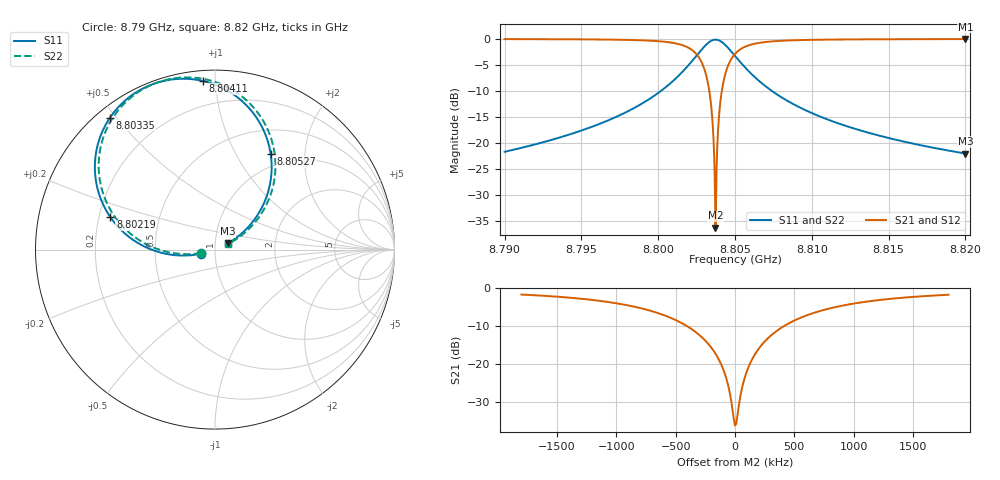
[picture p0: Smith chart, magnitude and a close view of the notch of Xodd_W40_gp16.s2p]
! Sonnet Data File
! From: emgraph Version : 16.52
! From Project: Qubit_Xmon2
! Data is De-embedded
! Data File Written: 10/18/2017 14:46:52
!< HDATE 10/18/2017 13:36:36
!< MDATE 10/18/2017 13:36:36
!< PARAMS
!< Lj = 11.0
!< Gap = 16.0
!< Pwid = 2000.0
!< Airgap = 24.0
!< Width = 40.0
!< END PARAMS
# GHZ S MA R 43.40000
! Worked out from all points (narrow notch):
!   3001 points, 8.79 GHz to 8.82 GHz, reference 43.4 ohm
!   highest |S21| = -0.03 dB at 8.82 GHz (marker M1); lowest = -36.3 dB at 8.80373 GHz (marker M2)
!   notch at M2: 36.2 dB deep, 301 kHz wide at half that depth
!   lowest |S11| = -22.0 dB at 8.82 GHz (marker M3), VSWR 1.17, Z = 49.9 + j3.43 ohm
!   |S11| at or under -10 dB: start of sweep to 8.800179 GHz; 8.807402 GHz to end of sweep
!   |S22| runs from -22.0 to -0.1 dB; largest |S21 - S12| = 0
!   S11 on the Smith chart (normalised r, x): 8.79 GHz: 0.85, -0.04; 8.80219 GHz: 0.25, +0.14; 8.80335 GHz: 0.04, +0.48; 8.80411 GHz: 0.06, +0.93; 8.80527 GHz: 0.82, +1.40; 8.82 GHz: 1.15, +0.08
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8.79  0.08219 -163.6  0.9965 -74.8  0.9965 -74.8  0.08219 -166.2
!< P1 F=8.79 Eeff=(4.81771806 -6.2668e-5) Z0=(43.3161425 -1.8142e-4) R=0.0 C=0.0
!< P2 F=8.79 Eeff=(4.81771806 -6.2668e-5) Z0=(43.3161425 -1.8142e-4) R=0.0 C=0.0
8.795  0.1316 -166.6  0.991 -77.7  0.991 -77.7  0.1316 -169.2
8.8  0.3023 -176.8  0.9517 -87.8  0.9517 -87.8  0.3023 -179.4
8.80133  0.4432 174.3  0.893 -96.5  0.893 -96.5  0.4432 171.7
8.80219  0.6094 162.8  0.7855 -107.8  0.7855 -107.8  0.6094 160.2
8.80291  0.8163 145.1  0.5596 -124.9  0.5596 -124.9  0.8163 142.5
8.80316  0.8915 136.2  0.4252 -133.2  0.4252 -133.2  0.8915 133.6
8.80335  0.9397 128.5  0.2996 -140.1  0.2996 -140.1  0.9397 125.9
8.8035  0.9674 121.9  0.188 -144.9  0.188 -144.9  0.9674 119.2
8.80364  0.982 115.4  0.07755 -144.7  0.07755 -144.7  0.982 112.8
8.80373  0.9849 111.2  0.01533 -80.4  0.01533 -80.4  0.9849 108.6
8.80383  0.9819 106.5  0.08009 4.4  0.08009 4.4  0.9819 103.9
8.80396  0.9685 100.6  0.1825 4.6  0.1825 4.6  0.9685 98.0
8.80411  0.9415 94.0  0.294 -0.1  0.294 -0.1  0.9415 91.4
8.80446  0.8477 80.4  0.5094 -12.3  0.5094 -12.3  0.8477 77.8
8.805  0.6865 65.2  0.7173 -26.9  0.7173 -26.9  0.6865 62.6
8.80527  0.6162 59.8  0.7802 -32.2  0.7802 -32.2  0.6162 57.2
8.80601  0.4701 49.5  0.8789 -42.2  0.8789 -42.2  0.4701 46.9
8.80694  0.3556 42.2  0.9326 -49.5  0.9326 -49.5  0.3556 39.6
8.81  0.1938 32.3  0.9805 -59.1  0.9805 -59.1  0.1938 29.7
8.815  0.1115 27.5  0.9936 -63.9  0.9936 -63.9  0.1115 24.8
8.82  0.0791 25.5  0.9968 -65.8  0.9968 -65.8  0.0791 22.9
